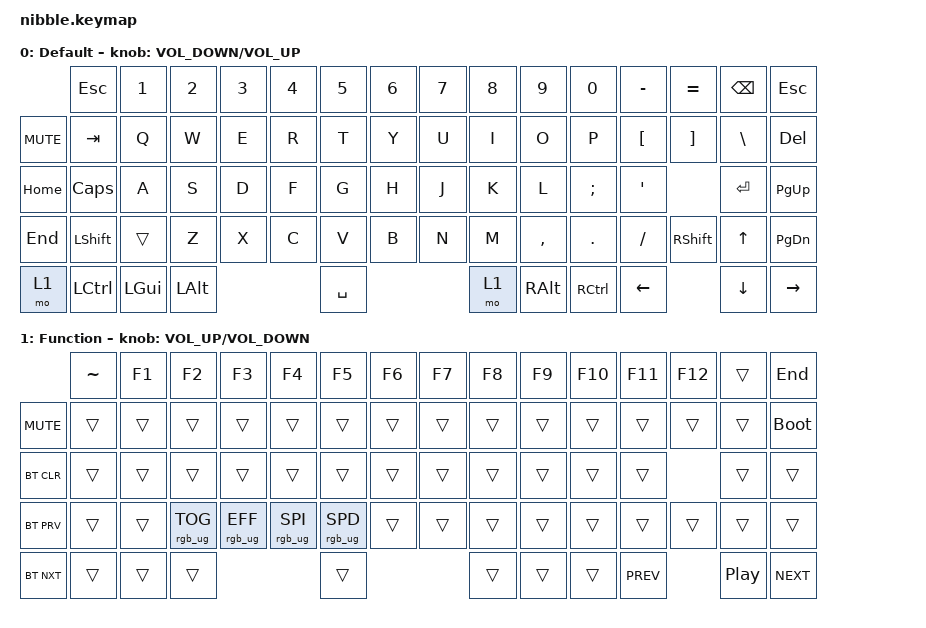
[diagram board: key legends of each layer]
/*
 * Copyright (c) 2020 The ZMK Contributors
 *
 * SPDX-License-Identifier: MIT
 */

#include <behaviors.dtsi>
#include <dt-bindings/zmk/keys.h>
#include <dt-bindings/zmk/bt.h>
#include <dt-bindings/zmk/rgb.h>

/ {
	sensors {
		compatible = "zmk,keymap-sensors";
		sensors = <&encoder_1>;
	};

	keymap {
		compatible = "zmk,keymap";

		default_layer {
			label = "Default";

			sensor-bindings = <&inc_dec_kp C_VOLUME_DOWN C_VOLUME_UP>;

			bindings = <
            &kp ESC   &kp N1    &kp N2    &kp N3    &kp N4    &kp N5    &kp N6    &kp N7    &kp N8  &kp N9    &kp N0    &kp MINUS &kp EQUAL &kp BSPC &kp ESC
&kp C_MUTE  &kp TAB   &kp Q     &kp W     &kp E     &kp R     &kp T     &kp Y     &kp U     &kp I   &kp O     &kp P     &kp LBKT  &kp RBKT  &kp BSLH &kp DEL
&kp HOME      &kp CLCK  &kp A     &kp S     &kp D     &kp F     &kp G     &kp H     &kp J     &kp K   &kp L     &kp SEMI  &kp SQT             &kp RET  &kp PG_UP
&kp END      &kp LSHFT &trans    &kp Z     &kp X     &kp C     &kp V     &kp B     &kp N     &kp M   &kp COMMA &kp DOT   &kp FSLH  &kp RSHFT &kp UP   &kp PG_DN
&mo 1      &kp LCTRL &kp LGUI  &kp LALT                      &kp SPACE                     &mo 1   &kp RALT  &kp RCTRL &kp LEFT            &kp DOWN &kp RIGHT
			>;
		};
		function_layer {
			label = "Function";
			
			sensor-bindings = <&inc_dec_kp C_VOLUME_UP C_VOLUME_DOWN>;

			bindings = <
            &kp TILDE &kp F1    &kp F2    &kp F3    &kp F4    &kp F5    &kp F6    &kp F7    &kp F8  &kp F9    &kp F10   &kp F11   &kp F12   &trans   &kp END
&kp C_MUTE  &trans    &trans    &trans    &trans    &trans    &trans    &trans    &trans    &trans  &trans    &trans    &trans    &trans    &trans   &bootloader
&bt BT_CLR  &trans    &trans    &trans    &trans    &trans    &trans    &trans    &trans    &trans  &trans    &trans    &trans              &trans   &trans
&bt BT_PRV  &trans    &trans    &rgb_ug RGB_TOG    &rgb_ug RGB_EFF    &rgb_ug RGB_SPI    &rgb_ug RGB_SPD    &trans    &trans    &trans  &trans    &trans    &trans    &trans    &trans   &trans
&bt BT_NXT  &trans    &trans    &trans                        &trans                        &trans  &trans    &trans    &kp C_PREV          &kp C_PP &kp C_NEXT
			>;
		};
	};
};
